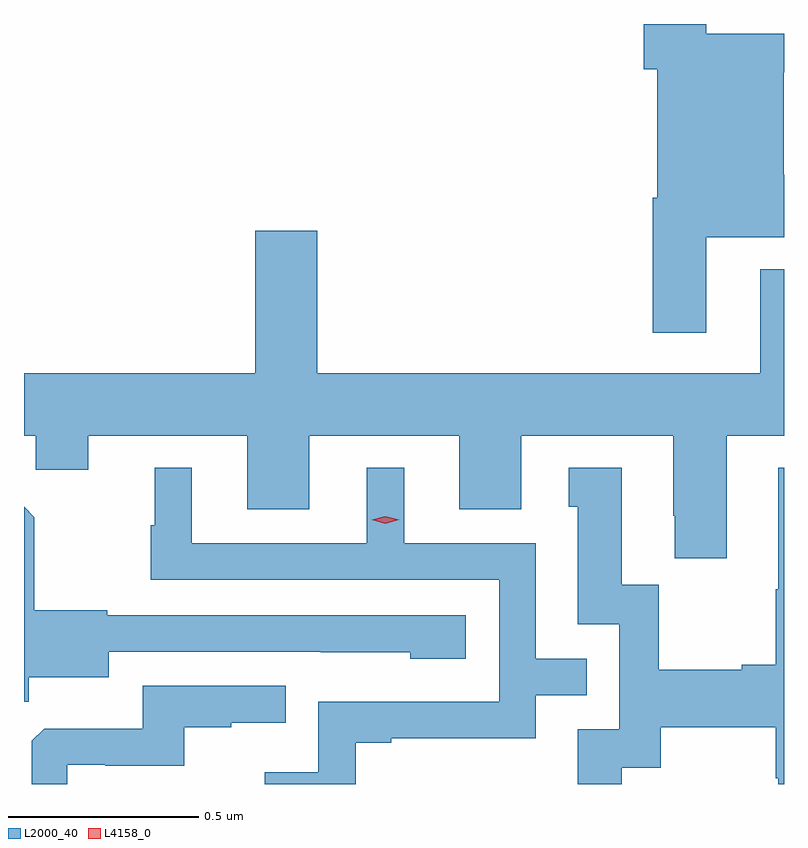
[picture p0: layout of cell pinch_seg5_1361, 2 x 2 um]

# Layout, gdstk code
import gdstk
lib = gdstk.Library(unit=1e-6, precision=1e-09)
def P(c, l, *ps):  # polygons
    for p in ps: c.add(gdstk.Polygon(p, *l))
L2000_40 = (2000, 40)
L4158_0 = (4158, 0)

pinch_seg5_1361 = lib.new_cell('pinch_seg5_1361')
P(pinch_seg5_1361, L2000_40, [(310.051,914.558),(310.256,914.558),(310.256,914.722),(310.255,914.722),(310.255,914.992),(310.256,914.992),(310.256,915.093),(310.051,915.093),(310.051,915.119),(309.887,915.119),(309.887,915),(309.923,915),(309.923,914.662),(309.911,914.662),(309.911,914.307),(310.051,914.307)],
  [(310.105,914.036),(310.256,914.036),(310.256,914.473),(310.193,914.473),(310.193,914.2),(309.028,914.2),(309.028,914.575),(308.864,914.575),(308.864,914.2),(308.256,914.2),(308.256,914.036),(308.287,914.036),(308.287,913.946),(308.425,913.946),(308.425,914.036),(308.843,914.036),(308.843,913.842),(309.007,913.842),(309.007,914.036),(309.401,914.036),(309.401,913.842),(309.565,913.842),(309.565,914.036),(309.965,914.036),(309.965,913.825),(309.968,913.825),(309.968,913.713),(310.105,913.713)],
  [(309.829,913.162),(309.931,913.162),(309.931,913.268),(310.234,913.268),(310.234,913.134),(310.241,913.134),(310.241,913.119),(310.256,913.119),(310.256,913.951),(310.241,913.951),(310.241,913.631),(310.234,913.631),(310.234,913.433),(310.145,913.433),(310.145,913.42),(309.927,913.42),(309.927,913.643),(309.829,913.643),(309.829,913.951),(309.689,913.951),(309.689,913.848),(309.713,913.848),(309.713,913.539),(309.822,913.539),(309.822,913.263),(309.713,913.263),(309.713,913.119),(309.829,913.119)],
  [(309.129,913.227),(309.223,913.227),(309.223,913.239),(309.603,913.239),(309.603,913.353),(309.737,913.353),(309.737,913.449),(309.603,913.449),(309.603,913.752),(309.256,913.752),(309.256,913.951),(309.158,913.951),(309.158,913.752),(308.698,913.752),(308.698,913.951),(308.6,913.951),(308.6,913.8),(308.589,913.8),(308.589,913.656),(309.507,913.656),(309.507,913.335),(309.03,913.335),(309.03,913.15),(308.889,913.15),(308.889,913.119),(309.129,913.119)],
  [(308.268,913.4),(308.479,913.4),(308.479,913.467),(309.037,913.467),(309.037,913.466),(309.273,913.466),(309.273,913.448),(309.418,913.448),(309.418,913.563),(308.475,913.563),(308.475,913.576),(308.283,913.576),(308.283,913.821),(308.256,913.848),(308.256,913.336),(308.268,913.336)],
  [(308.37,913.17),(308.47,913.17),(308.47,913.167),(308.678,913.167),(308.678,913.269),(308.801,913.269),(308.801,913.28),(308.945,913.28),(308.945,913.377),(308.568,913.377),(308.568,913.265),(308.309,913.265),(308.277,913.233),(308.277,913.119),(308.37,913.119)])
P(pinch_seg5_1361, L4158_0, [(309.207,913.804),(309.171,913.814),(309.171,913.814),(309.171,913.814),(309.207,913.824),(309.243,913.814),(309.243,913.814),(309.243,913.814)])

lib.write_gds('pinch_seg5_1361.gds')
